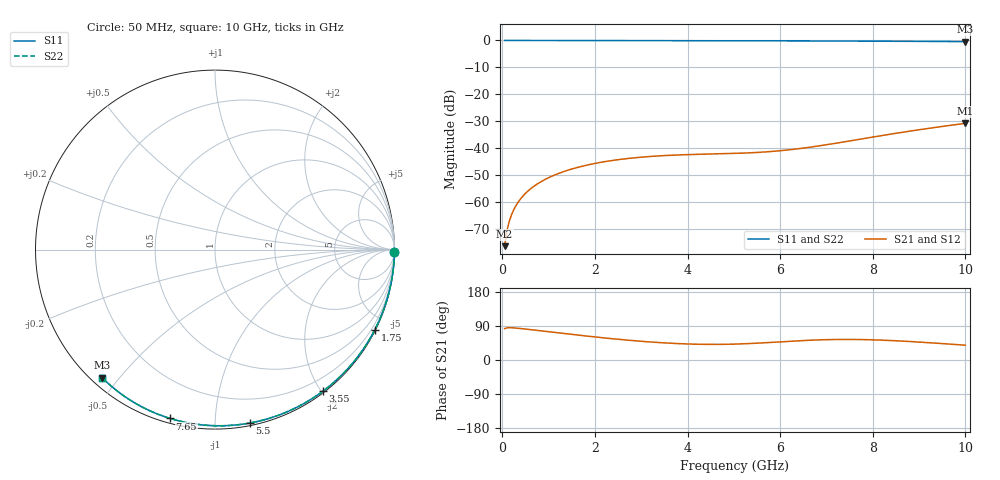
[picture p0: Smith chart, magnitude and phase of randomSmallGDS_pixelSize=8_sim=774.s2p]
! freq	dB(S11)	phase(S11)	dB(S12)	phase(S12)
!  dB(S21)	phase(S21)	dB(S22)	phase(S22)
!S-par simulation data
#  GHz  S  DB  R 50
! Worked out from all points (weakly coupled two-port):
!   200 points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, 50 MHz to 10 GHz, reference 50 ohm
!   highest |S21| = -30.75 dB at 10 GHz (marker M1); lowest = -76.3 dB at 50 MHz (marker M2)
!   lowest |S11| = -0.4 dB at 10 GHz (marker M3), VSWR 39.90, Z = 1.51 - j22.6 ohm
!   |S11| at or under -10 dB: nowhere
!   |S22| runs from -0.4 to 0.0 dB; largest |S21 - S12| = 0
!   S11 on the Smith chart (normalised r, x): 50 MHz: open; 1.75 GHz: 0.04, -4.23; 3.55 GHz: 0.02, -2.02; 5.5 GHz: 0.02, -1.22; 7.65 GHz: 0.02, -0.77; 10 GHz: 0.03, -0.45
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0.05  -0.00 -0.8  -76.34 82.7  -76.34 82.7  -0.00 -0.8
0.1  -0.00 -1.5  -70.59 84.9  -70.59 84.9  -0.00 -1.5
0.15  -0.00 -2.3  -67.12 85.3  -67.12 85.3  -0.00 -2.3
0.2  -0.00 -3.1  -64.65 85.1  -64.65 85.1  -0.00 -3.1
0.25  -0.00 -3.9  -62.73 84.7  -62.73 84.7  -0.00 -3.9
0.35  -0.00 -5.4  -59.83 83.6  -59.83 83.6  -0.00 -5.4
0.5  -0.01 -7.7  -56.76 81.7  -56.76 81.7  -0.01 -7.7
0.7  -0.01 -10.8  -53.90 78.9  -53.90 78.9  -0.01 -10.8
1  -0.02 -15.3  -50.93 74.6  -50.93 74.6  -0.02 -15.3
1.35  -0.03 -20.6  -48.52 69.6  -48.52 69.6  -0.03 -20.6
1.75  -0.03 -26.6  -46.57 64.1  -46.57 64.1  -0.03 -26.6
2.5  -0.05 -37.6  -44.24 54.7  -44.24 54.7  -0.05 -37.7
3.4  -0.07 -50.5  -42.82 45.9  -42.82 45.9  -0.07 -50.5
3.55  -0.07 -52.6  -42.67 44.8  -42.67 44.8  -0.07 -52.6
4.3  -0.09 -62.9  -42.22 41.4  -42.22 41.4  -0.09 -63.0
5.05  -0.11 -72.9  -41.89 42.1  -41.89 42.1  -0.11 -72.9
5.5  -0.13 -78.7  -41.56 44.4  -41.56 44.4  -0.13 -78.8
6.05  -0.15 -85.7  -40.85 48.3  -40.85 48.3  -0.15 -85.7
6.7  -0.18 -93.7  -39.48 52.5  -39.48 52.5  -0.18 -93.7
7.65  -0.23 -104.9  -36.86 54.2  -36.86 54.2  -0.23 -105.0
8.35  -0.28 -113.0  -34.86 51.6  -34.86 51.6  -0.28 -113.0
10  -0.44 -131.4  -30.75 39.1  -30.75 39.1  -0.44 -131.4
